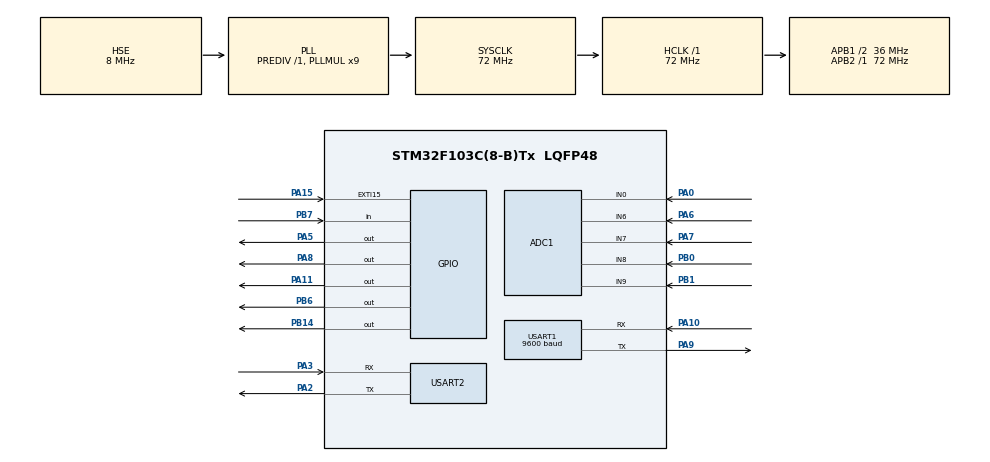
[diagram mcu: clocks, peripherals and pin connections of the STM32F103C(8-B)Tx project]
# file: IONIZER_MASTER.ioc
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ADC1.Channel-0\#ChannelRegularConversion=ADC_CHANNEL_0
ADC1.Channel-1\#ChannelRegularConversion=ADC_CHANNEL_6
ADC1.Channel-2\#ChannelRegularConversion=ADC_CHANNEL_7
ADC1.Channel-3\#ChannelRegularConversion=ADC_CHANNEL_8
ADC1.Channel-4\#ChannelRegularConversion=ADC_CHANNEL_9
ADC1.NbrOfConversion=5
ADC1.NbrOfConversionFlag=1
ADC1.Rank-0\#ChannelRegularConversion=1
ADC1.Rank-1\#ChannelRegularConversion=2
ADC1.Rank-2\#ChannelRegularConversion=3
ADC1.Rank-3\#ChannelRegularConversion=4
ADC1.Rank-4\#ChannelRegularConversion=5
ADC1.SamplingTime-0\#ChannelRegularConversion=ADC_SAMPLETIME_71CYCLES_5
ADC1.SamplingTime-1\#ChannelRegularConversion=ADC_SAMPLETIME_71CYCLES_5
ADC1.SamplingTime-2\#ChannelRegularConversion=ADC_SAMPLETIME_71CYCLES_5
ADC1.SamplingTime-3\#ChannelRegularConversion=ADC_SAMPLETIME_71CYCLES_5
ADC1.SamplingTime-4\#ChannelRegularConversion=ADC_SAMPLETIME_71CYCLES_5
ADC1.master=1
Mcu.Family=STM32F1
Mcu.Name=STM32F103C(8-B)Tx
Mcu.Package=LQFP48
NVIC.EXTI15_10_IRQn=true\:0\:0\:false\:false\:true\:true\:true\:true
NVIC.PriorityGroup=NVIC_PRIORITYGROUP_4
PA0-WKUP.Signal=ADCx_IN0
PA10.Mode=Asynchronous
PA10.Signal=USART1_RX
PA11.Signal=GPIO_Output
PA13.Mode=Serial_Wire
PA13.Signal=SYS_JTMS-SWDIO
PA14.Mode=Serial_Wire
PA14.Signal=SYS_JTCK-SWCLK
PA15.GPIO_ModeDefaultEXTI=GPIO_MODE_IT_RISING
PA15.Signal=GPXTI15
PA2.Mode=Asynchronous
PA2.Signal=USART2_TX
PA3.Mode=Asynchronous
PA3.Signal=USART2_RX
PA5.Signal=GPIO_Output
PA6.Signal=ADCx_IN6
PA7.Signal=ADCx_IN7
PA8.Signal=GPIO_Output
PA9.Mode=Asynchronous
PA9.Signal=USART1_TX
PB0.Signal=ADCx_IN8
PB1.Signal=ADCx_IN9
PB14.Signal=GPIO_Output
PB6.Signal=GPIO_Output
PB7.Signal=GPIO_Input
PC14-OSC32_IN.Mode=LSE-External-Oscillator
PC14-OSC32_IN.Signal=RCC_OSC32_IN
PC15-OSC32_OUT.Mode=LSE-External-Oscillator
PC15-OSC32_OUT.Signal=RCC_OSC32_OUT
PD0-OSC_IN.Mode=HSE-External-Oscillator
PD0-OSC_IN.Signal=RCC_OSC_IN
PD1-OSC_OUT.Mode=HSE-External-Oscillator
PD1-OSC_OUT.Signal=RCC_OSC_OUT
ProjectManager.HeapSize=0x200
ProjectManager.StackSize=0x400
ProjectManager.TargetToolchain=STM32CubeIDE
RCC.ADCPresc=RCC_ADCPCLK2_DIV6
RCC.AHBFreq_Value=72000000
RCC.APB1CLKDivider=RCC_HCLK_DIV2
RCC.APB1Freq_Value=36000000
RCC.APB1TimFreq_Value=72000000
RCC.APB2Freq_Value=72000000
RCC.APB2TimFreq_Value=72000000
RCC.HCLKFreq_Value=72000000
RCC.PLLMUL=RCC_PLL_MUL9
RCC.PLLSourceVirtual=RCC_PLLSOURCE_HSE
RCC.SYSCLKFreq_VALUE=72000000
RCC.SYSCLKSource=RCC_SYSCLKSOURCE_PLLCLK
RCC.USBFreq_Value=72000000
SH.ADCx_IN0.0=ADC1_IN0,IN0
SH.ADCx_IN6.0=ADC1_IN6,IN6
SH.ADCx_IN7.0=ADC1_IN7,IN7
SH.ADCx_IN8.0=ADC1_IN8,IN8
SH.ADCx_IN9.0=ADC1_IN9,IN9
TIM1.Prescaler=72
USART1.BaudRate=9600
USART1.VirtualMode=VM_ASYNC
USART2.VirtualMode=VM_ASYNC
VP_TIM1_VS_ClockSourceINT.Mode=Internal
board=custom

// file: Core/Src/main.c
/* USER CODE BEGIN Header */
/**
  ******************************************************************************
  * @file           : main.c
  * @brief          : Main program body
  ******************************************************************************
  * @attention
  *
  * Copyright (c) 2026 STMicroelectronics.
  * All rights reserved.
  *
  * This software is licensed under terms that can be found in the LICENSE file
  * in the root directory of this software component.
  * If no LICENSE file comes with this software, it is provided AS-IS.
  *
  ******************************************************************************
  */

/**
 * @file    main.c
 * @brief   Ionizer System — Master MCU Main Application
 * @target  STM32F4xx (HAL)
 * @author  Ionizer Firmware Team
 * @version 1.0.0
 *
 * Execution Flow (main loop):
 *   Step 1  — Read GSM Timestamp
 *   Step 2  — Read Inlet WFS + Poll Slave 1 HR[0] + Poll Slave 2 HR[0,1]
 *   Step 3  — TDS Monitor (80–100 ppm)  → Ionizer OFF on fault
 *   Step 4  — Booster Tank Level        → Ionizer OFF + RED LED + Buzzer
 *   Step 5  — Tank A Level H/L Limit    → Ionizer OFF
 *   Step 6  — Ionizer Set Alternation (Set 1 ↔ Set 2 every 30 min)
 *   Step 7  — CT1 / CT2 Current Monitor
 *   Step 8  — Receive Solenoid CMD from server → FC06 → Slave 2
 *   Step 9  — Build JSON payload
 *   Step 10 — HTTP POST to Cloud + Mobile App
 *   Step 11 — Update HMI Display
 *   Step 12 — Kick Watchdog
 *
 * Peripheral Assignments:
 *   UART1  → RS485 / Modbus RTU Master (PA9=DE/RE, PA10=RX, PB6=TX)
 *   UART2  → GSM Module (PA2=TX, PA3=RX)
 *   ADC1   → CH0=CT1 (PA0), CH1=CT2 (PA1)
 *   TIM2   → Free-running tick reference
 *   I2C1   → HMI LCD (PB8=SCL, PB9=SDA)
 *   IWDG   → Independent Watchdog (2 s timeout)
 *   GPIOB  → Relay1 (PB0), Relay2 (PB1)
 *   GPIOC  → RED LED (PC0), Buzzer (PC1),
 *             Tank A HIGH (PC2), Tank A LOW (PC3),
 *             Booster Level (PC4)
 *   EXTI   → Inlet WFS pulse (e.g. PB5)
 */

/* USER CODE END Header */
#include "main.h"

/* USER CODE BEGIN Includes */
#include "driver.h"
/* USER CODE END Includes */

ADC_HandleTypeDef hadc1;

TIM_HandleTypeDef htim1;

UART_HandleTypeDef huart1;
UART_HandleTypeDef huart2;

/* USER CODE BEGIN PV */
uint32_t total_flow=0;
uint16_t slave1_WF_LTR=0,slave1_sol_sts=0,slave2_WF_LTR=0,slave2_TDS,slave2_TWLS=0;
uint8_t sol_open_cnt=0;
/* USER CODE END PV */

void SystemClock_Config(void);
static void MX_GPIO_Init(void);
static void MX_USART1_UART_Init(void);
static void MX_ADC1_Init(void);
static void MX_TIM1_Init(void);
static void MX_USART2_UART_Init(void);
/* USER CODE BEGIN PFP */

/* ─────────────────────────────────────────────────────────────────────────
   Global System Data Structure
───────────────────────────────────────────────────────────────────────── */
static IonizerSystem_t g_sys;

/* ─────────────────────────────────────────────────────────────────────────
   Private Function Prototypes
───────────────────────────────────────────────────────────────────────── */

static void App_Step1_ReadTimestamp(IonizerSystem_t *sys);
static void App_Step2_PollSensors(IonizerSystem_t *sys);
static void App_Step3_MonitorTDS(IonizerSystem_t *sys);
static void App_Step4_MonitorBooster(IonizerSystem_t *sys);
static void App_Step5_MonitorTankA(IonizerSystem_t *sys);
static void App_Step6_IonizerAlternation(IonizerSystem_t *sys);
static void App_Step7_MonitorCT(IonizerSystem_t *sys);
static void App_Step8_SolenoidCMD(IonizerSystem_t *sys);
static void App_Step9_BuildJSON(IonizerSystem_t *sys, char *json_buf, uint16_t buf_size);
static void App_Step10_CloudSync(IonizerSystem_t *sys, const char *json_buf);
static void App_Step11_UpdateHMI(IonizerSystem_t *sys);
static void App_Step12_KickWDT(IonizerSystem_t *sys);
static void App_HandleFaults(IonizerSystem_t *sys);

/* USER CODE END PFP */

/* USER CODE BEGIN 0 */
int _write(int file, char *ptr, int len)
{
	/* Implement your write code here, this is used by puts and printf for example */
	int i=0;
	for(i=0 ; i<len ; i++)
		ITM_SendChar((*ptr++));
	return len;
}
/* USER CODE END 0 */

int main(void)
{

  /* MCU Configuration--------------------------------------------------------*/

  /* Reset of all peripherals, Initializes the Flash interface and the Systick. */
  HAL_Init();

  /* Configure the system clock */
  SystemClock_Config();

  /* USER CODE BEGIN SysInit */
  DRV_Init(&g_sys);
  /* USER CODE END SysInit */

  /* Initialize all configured peripherals */
  MX_GPIO_Init();
  MX_USART1_UART_Init();
  MX_ADC1_Init();
  MX_TIM1_Init();
  MX_USART2_UART_Init();
  /* USER CODE BEGIN 2 */
//  HAL_GPIO_WritePin(GPIOB, GPIO_PIN_7, GPIO_PIN_RESET);
//  HAL_TIM_Base_Start(&htim1);
//  HAL_TIM_IC_Start_IT(&htim4, TIM_CHANNEL_1);
  DWT_Init();
//  /* ── Driver Layer Init ── */
//     if (DRV_Init(&g_sys) != DRV_OK) {
//         /* Critical init failure — halt with LED blink */
//         while (1) {
//             DRV_RedLED_Set(true);
//             HAL_Delay(200);
//             DRV_RedLED_Set(false);
//             HAL_Delay(200);
//         }
//     }
//
//     /* ── Startup Indication ── */
//     DRV_Buzzer_Beep(2, 100, 100);
//     DRV_HMI_Clear();
//
//     /* ── GSM Self-check ── */
//     if (DRV_GSM_Check(g_sys.huart_gsm) != DRV_OK) {
//         g_sys.fault_gsm = true;
//         DRV_HMI_ShowFault("GSM FAIL");
//         HAL_Delay(1000);
//     }
//
//     /* ── Start with Ionizer Set 1 ── */
     g_sys.active_set = IONIZER_SET1;
     g_sys.ionizer_on = true;
     DRV_Ionizer_ON(IONIZER_SET1);

     /* ── JSON buffer (stack) ── */
     char json_buf[JSON_BUF_SIZE];
     printf("abcd\n");

  /* USER CODE END 2 */

  /* Infinite loop */
  while (1)
  {

    /* USER CODE BEGIN 3 */

//	  DRV_WFS_GetFlowLPM();

	  /* ── Step 1: Read GSM Timestamp ── */
//	         App_Step1_ReadTimestamp(&g_sys);
//
//	         /* ── Step 2: Read Inlet WFS + Poll Slave MCUs ── */
	         App_Step2_PollSensors(&g_sys);

//	         /* ── Step 3: TDS Monitor ── */
	        // readTDS(g_sys);
	         DRV_TDS_Read(&g_sys);
//	         App_Step3_MonitorTDS(&g_sys);

//	         /* ── Step 4: Booster Tank Level ── */
	        // JSN_SR04_Trigger();
	       //  HAL_Delay(100);
	         read_distance(&g_sys);
//	         App_Step4_MonitorBooster(&g_sys);
//
//	         /* ── Step 5: Tank A Level ── */
//	         App_Step5_MonitorTankA(&g_sys);
//
//	         /* ── Step 6: Ionizer Set Alternation ── */
             App_Step6_IonizerAlternation(&g_sys);
//
//	         /* ── Step 7: CT Sensor Monitor ── */
	         App_Step7_MonitorCT(&g_sys);
//
	         /* ── Step 8: Solenoid CMD from Server ── */
	         App_Step8_SolenoidCMD(&g_sys);
//
//	         /* ── Step 9: Build JSON Payload ── */
	         App_Step9_BuildJSON(&g_sys, json_buf, sizeof(json_buf));
//
//	         /* ── Step 10: Cloud + Mobile App Sync ── */
	         App_Step10_CloudSync(&g_sys, json_buf);
//
//	         /* ── Step 11: HMI Display Update ── */
//	         App_Step11_UpdateHMI(&g_sys);
//
//	         /* ── Step 12: Kick Watchdog ── */
//	         App_Step12_KickWDT(&g_sys);

	         /* Loop delay — adjust for desired polling rate */
	         HAL_Delay(100);

  }
  /* USER CODE END 3 */
}

void SystemClock_Config(void)
{
  RCC_OscInitTypeDef RCC_OscInitStruct = {0};
  RCC_ClkInitTypeDef RCC_ClkInitStruct = {0};
  RCC_PeriphCLKInitTypeDef PeriphClkInit = {0};

  /** Initializes the RCC Oscillators according to the specified parameters
  * in the RCC_OscInitTypeDef structure.
  */
  RCC_OscInitStruct.OscillatorType = RCC_OSCILLATORTYPE_HSE;
  RCC_OscInitStruct.HSEState = RCC_HSE_ON;
  RCC_OscInitStruct.HSEPredivValue = RCC_HSE_PREDIV_DIV1;
  RCC_OscInitStruct.HSIState = RCC_HSI_ON;
  RCC_OscInitStruct.PLL.PLLState = RCC_PLL_ON;
  RCC_OscInitStruct.PLL.PLLSource = RCC_PLLSOURCE_HSE;
  RCC_OscInitStruct.PLL.PLLMUL = RCC_PLL_MUL9;
  if (HAL_RCC_OscConfig(&RCC_OscInitStruct) != HAL_OK)
  {
    Error_Handler();
  }

  /** Initializes the CPU, AHB and APB buses clocks
  */
  RCC_ClkInitStruct.ClockType = RCC_CLOCKTYPE_HCLK|RCC_CLOCKTYPE_SYSCLK
                              |RCC_CLOCKTYPE_PCLK1|RCC_CLOCKTYPE_PCLK2;
  RCC_ClkInitStruct.SYSCLKSource = RCC_SYSCLKSOURCE_PLLCLK;
  RCC_ClkInitStruct.AHBCLKDivider = RCC_SYSCLK_DIV1;
  RCC_ClkInitStruct.APB1CLKDivider = RCC_HCLK_DIV2;
  RCC_ClkInitStruct.APB2CLKDivider = RCC_HCLK_DIV1;

  if (HAL_RCC_ClockConfig(&RCC_ClkInitStruct, FLASH_LATENCY_2) != HAL_OK)
  {
    Error_Handler();
  }
  PeriphClkInit.PeriphClockSelection = RCC_PERIPHCLK_ADC;
  PeriphClkInit.AdcClockSelection = RCC_ADCPCLK2_DIV6;
  if (HAL_RCCEx_PeriphCLKConfig(&PeriphClkInit) != HAL_OK)
  {
    Error_Handler();
  }
}

static void MX_ADC1_Init(void)
{

  ADC_ChannelConfTypeDef sConfig = {0};

  /** Common config
  */
  hadc1.Instance = ADC1;
  hadc1.Init.ScanConvMode = ADC_SCAN_ENABLE;
  hadc1.Init.ContinuousConvMode = DISABLE;
  hadc1.Init.DiscontinuousConvMode = DISABLE;
  hadc1.Init.ExternalTrigConv = ADC_SOFTWARE_START;
  hadc1.Init.DataAlign = ADC_DATAALIGN_RIGHT;
  hadc1.Init.NbrOfConversion = 5;
  if (HAL_ADC_Init(&hadc1) != HAL_OK)
  {
    Error_Handler();
  }

  /** Configure Regular Channel
  */
  sConfig.Channel = ADC_CHANNEL_0;
  sConfig.Rank = ADC_REGULAR_RANK_1;
  sConfig.SamplingTime = ADC_SAMPLETIME_71CYCLES_5;
  if (HAL_ADC_ConfigChannel(&hadc1, &sConfig) != HAL_OK)
  {
    Error_Handler();
  }

  /** Configure Regular Channel
  */
  sConfig.Channel = ADC_CHANNEL_6;
  sConfig.Rank = ADC_REGULAR_RANK_2;
  if (HAL_ADC_ConfigChannel(&hadc1, &sConfig) != HAL_OK)
  {
    Error_Handler();
  }

  /** Configure Regular Channel
  */
  sConfig.Channel = ADC_CHANNEL_7;
  sConfig.Rank = ADC_REGULAR_RANK_3;
  if (HAL_ADC_ConfigChannel(&hadc1, &sConfig) != HAL_OK)
  {
    Error_Handler();
  }

  /** Configure Regular Channel
  */
  sConfig.Channel = ADC_CHANNEL_8;
  sConfig.Rank = ADC_REGULAR_RANK_4;
  if (HAL_ADC_ConfigChannel(&hadc1, &sConfig) != HAL_OK)
  {
    Error_Handler();
  }

  /** Configure Regular Channel
  */
  sConfig.Channel = ADC_CHANNEL_9;
  sConfig.Rank = ADC_REGULAR_RANK_5;
  if (HAL_ADC_ConfigChannel(&hadc1, &sConfig) != HAL_OK)
  {
    Error_Handler();
  }

}

static void MX_TIM1_Init(void)
{

  TIM_ClockConfigTypeDef sClockSourceConfig = {0};
  TIM_MasterConfigTypeDef sMasterConfig = {0};

  htim1.Instance = TIM1;
  htim1.Init.Prescaler = 72;
  htim1.Init.CounterMode = TIM_COUNTERMODE_UP;
  htim1.Init.Period = 65535;
  htim1.Init.ClockDivision = TIM_CLOCKDIVISION_DIV1;
  htim1.Init.RepetitionCounter = 0;
  htim1.Init.AutoReloadPreload = TIM_AUTORELOAD_PRELOAD_DISABLE;
  if (HAL_TIM_Base_Init(&htim1) != HAL_OK)
  {
    Error_Handler();
  }
  sClockSourceConfig.ClockSource = TIM_CLOCKSOURCE_INTERNAL;
  if (HAL_TIM_ConfigClockSource(&htim1, &sClockSourceConfig) != HAL_OK)
  {
    Error_Handler();
  }
  sMasterConfig.MasterOutputTrigger = TIM_TRGO_RESET;
  sMasterConfig.MasterSlaveMode = TIM_MASTERSLAVEMODE_DISABLE;
  if (HAL_TIMEx_MasterConfigSynchronization(&htim1, &sMasterConfig) != HAL_OK)
  {
    Error_Handler();
  }

}

static void MX_USART1_UART_Init(void)
{

  huart1.Instance = USART1;
  huart1.Init.BaudRate = 9600;
  huart1.Init.WordLength = UART_WORDLENGTH_8B;
  huart1.Init.StopBits = UART_STOPBITS_1;
  huart1.Init.Parity = UART_PARITY_NONE;
  huart1.Init.Mode = UART_MODE_TX_RX;
  huart1.Init.HwFlowCtl = UART_HWCONTROL_NONE;
  huart1.Init.OverSampling = UART_OVERSAMPLING_16;
  if (HAL_UART_Init(&huart1) != HAL_OK)
  {
    Error_Handler();
  }

}

static void MX_USART2_UART_Init(void)
{

  huart2.Instance = USART2;
  huart2.Init.BaudRate = 115200;
  huart2.Init.WordLength = UART_WORDLENGTH_8B;
  huart2.Init.StopBits = UART_STOPBITS_1;
  huart2.Init.Parity = UART_PARITY_NONE;
  huart2.Init.Mode = UART_MODE_TX_RX;
  huart2.Init.HwFlowCtl = UART_HWCONTROL_NONE;
  huart2.Init.OverSampling = UART_OVERSAMPLING_16;
  if (HAL_UART_Init(&huart2) != HAL_OK)
  {
    Error_Handler();
  }

}

static void MX_GPIO_Init(void)
{
  GPIO_InitTypeDef GPIO_InitStruct = {0};

  /* GPIO Ports Clock Enable */
  __HAL_RCC_GPIOC_CLK_ENABLE();
  __HAL_RCC_GPIOD_CLK_ENABLE();
  __HAL_RCC_GPIOA_CLK_ENABLE();
  __HAL_RCC_GPIOB_CLK_ENABLE();

  /*Configure GPIO pin Output Level */
  HAL_GPIO_WritePin(GPIOA, GPIO_PIN_5|GPIO_PIN_8|GPIO_PIN_11, GPIO_PIN_RESET);

  /*Configure GPIO pin Output Level */
  HAL_GPIO_WritePin(GPIOB, GPIO_PIN_14|GPIO_PIN_6, GPIO_PIN_RESET);

  /*Configure GPIO pins : PA5 PA8 PA11 */
  GPIO_InitStruct.Pin = GPIO_PIN_5|GPIO_PIN_8|GPIO_PIN_11;
  GPIO_InitStruct.Mode = GPIO_MODE_OUTPUT_PP;
  GPIO_InitStruct.Pull = GPIO_NOPULL;
  GPIO_InitStruct.Speed = GPIO_SPEED_FREQ_LOW;
  HAL_GPIO_Init(GPIOA, &GPIO_InitStruct);

  /*Configure GPIO pins : PB14 PB6 */
  GPIO_InitStruct.Pin = GPIO_PIN_14|GPIO_PIN_6;
  GPIO_InitStruct.Mode = GPIO_MODE_OUTPUT_PP;
  GPIO_InitStruct.Pull = GPIO_NOPULL;
  GPIO_InitStruct.Speed = GPIO_SPEED_FREQ_LOW;
  HAL_GPIO_Init(GPIOB, &GPIO_InitStruct);

  /*Configure GPIO pin : PA15 */
  GPIO_InitStruct.Pin = GPIO_PIN_15;
  GPIO_InitStruct.Mode = GPIO_MODE_IT_RISING;
  GPIO_InitStruct.Pull = GPIO_NOPULL;
  HAL_GPIO_Init(GPIOA, &GPIO_InitStruct);

  /*Configure GPIO pin : PB7 */
  GPIO_InitStruct.Pin = GPIO_PIN_7;
  GPIO_InitStruct.Mode = GPIO_MODE_INPUT;
  GPIO_InitStruct.Pull = GPIO_NOPULL;
  HAL_GPIO_Init(GPIOB, &GPIO_InitStruct);

  /* EXTI interrupt init*/
  HAL_NVIC_SetPriority(EXTI15_10_IRQn, 0, 0);
  HAL_NVIC_EnableIRQ(EXTI15_10_IRQn);

}

/* USER CODE BEGIN 4 */
/* ─────────────────────────────────────────────────────────────────────────
   STEP 1 — READ GSM TIMESTAMP
───────────────────────────────────────────────────────────────────────── */

/**
 * @brief  Read current date/time from GSM module and store in system struct.
 *         On failure the timestamp field retains its previous value.
 */
static void App_Step1_ReadTimestamp(IonizerSystem_t *sys)
{
    char ts_buf[32] = {0};
    DRV_Status st = DRV_GSM_GetTimestamp(sys->huart_gsm, ts_buf, sizeof(ts_buf));
    if (st == DRV_OK) {
        strncpy(sys->timestamp, ts_buf, sizeof(sys->timestamp) - 1);
        sys->fault_gsm = false;
    } else {
        /* Keep previous timestamp; mark fault */
        sys->fault_gsm = true;
        DBG_PRINT("GSM Timestamp read failed");
    }
}

/* ─────────────────────────────────────────────────────────────────────────
   STEP 2 — READ INLET WFS + POLL SLAVE MCUs
───────────────────────────────────────────────────────────────────────── */

/**
 * @brief  Read inlet flow sensor and poll both slave MCUs via Modbus FC03.
 *         Slave 1: HR[0] = Flow Rate
 *         Slave 2: HR[0] = Flow Rate, HR[1] = TDS value
 */
static void App_Step2_PollSensors(IonizerSystem_t *sys)
{
    /* ── Inlet WFS (direct GPIO pulse count) ── */
    sys->inlet_flow_lpm = DRV_WFS_GetFlowLPM();
    total_flow= DRV_WFS_GetFlowLPM();

    /* ── Poll Slave 1 — read 1 register (HR[0] = Flow) ── */
    uint16_t s1_data[4] = {0};
    DRV_Status st1 = DRV_Modbus_ReadHR(
        sys->huart_rs485, SLAVE1_ADDR,
        S1_HR_FLOW_RATE, 4, s1_data);

    if (st1 == DRV_OK) {
     //    Register value stored as x10 (e.g. 125 = 12.5 L/min)
        sys->slave1_flow_lpm  =   (float)s1_data[0] / 10.0f;
        slave1_WF_LTR         =    s1_data[0];

        sys->solenoid_status  =    s1_data[1];
        slave1_sol_sts        =    s1_data[1];
        sys->fault_modbus_s1  = false;
    } else {
        sys->fault_modbus_s1 = true;
        DBG_PRINT("Slave 1 poll failed (err=%d)", (int)st1);
    }

    HAL_Delay(100);
    // ── Poll Slave 2 — read 2 registers (HR[0]=Flow, HR[1]=TDS) ──
    uint16_t s2_data[5] = {0};
    DRV_Status st2 = DRV_Modbus_ReadHR(
        sys->huart_rs485, SLAVE2_ADDR,
        S2_HR_FLOW_RATE, 5, s2_data);

    if (st2 == DRV_OK) {
        sys->slave2_flow_lpm  = (float)s2_data[0] / 10.0f;
        slave2_WF_LTR         =    s2_data[0];

        sys->tds_ppm          = s2_data[1];
        slave2_TDS            =s2_data[1];

        sys->TWLS             = s2_data[4];
        slave2_TWLS            = s2_data[4];
        sys->fault_modbus_s2  = false;
    } else {
        sys->fault_modbus_s2 = true;
        DBG_PRINT("Slave 2 poll failed (err=%d)", (int)st2);
    }

   // HAL_Delay(1000);
    /*DBG_PRINT("Inlet=%.1f S1=%.1f S2=%.1f TDS=%uppm",
              (double)sys->inlet_flow_lpm,
              (double)sys->slave1_flow_lpm,
              (double)sys->slave2_flow_lpm,
              sys->tds_ppm);*/
}

/* ─────────────────────────────────────────────────────────────────────────
   STEP 3 — TDS MONITOR  (Threshold: 80–100 ppm)
───────────────────────────────────────────────────────────────────────── */

/**
 * @brief  Check TDS value. If outside 80–100 ppm, turn ionizer OFF.
 */
static void App_Step3_MonitorTDS(IonizerSystem_t *sys)
{
    if (sys->tds_ppm < TDS_MIN_PPM || sys->tds_ppm > TDS_MAX_PPM) {
        sys->fault_tds_out_of_range = true;
        if (sys->ionizer_on) {
            sys->ionizer_on = false;
            DRV_Ionizer_OFF_All();
            DRV_HMI_ShowFault("TDS OUT RANGE!");
            DRV_Buzzer_Beep(3, 200, 100);
            DBG_PRINT("TDS OUT OF RANGE (%u ppm) — Ionizer OFF", sys->tds_ppm);
        }
    } else {
        if (sys->fault_tds_out_of_range) {
            /* TDS returned to range — allow ionizer to restart */
            sys->fault_tds_out_of_range = false;
            DBG_PRINT("TDS back in range (%u ppm)", sys->tds_ppm);
        }
    }

    /* Re-evaluate overall ionizer enable state */
    App_HandleFaults(sys);
}

/* ─────────────────────────────────────────────────────────────────────────
   STEP 4 — BOOSTER TANK LEVEL MONITOR
───────────────────────────────────────────────────────────────────────── */

/**
 * @brief  Monitor booster tank level sensor.
 *         If below minimum: Ionizer OFF + RED LED + Buzzer.
 */
static void App_Step4_MonitorBooster(IonizerSystem_t *sys)
{
    sys->booster_level_low = DRV_Booster_LevelLow();

    if (sys->booster_level_low) {
        sys->fault_booster_low = true;
        if (sys->ionizer_on) {
            sys->ionizer_on = false;
            DRV_Ionizer_OFF_All();
            DBG_PRINT("BOOSTER LOW — Ionizer OFF");
        }
        DRV_RedLED_Set(true);
        DRV_Buzzer_Set(true);   /* Continuous alert */
        DRV_HMI_ShowFault("BOOSTER LOW!");
    } else {
        if (sys->fault_booster_low) {
            sys->fault_booster_low = false;
            DRV_RedLED_Set(false);
            DRV_Buzzer_Set(false);
            DBG_PRINT("Booster level restored");
        }
    }

    App_HandleFaults(sys);
}

/* ─────────────────────────────────────────────────────────────────────────
   STEP 5 — TANK A WATER LEVEL MONITOR  (HIGH / LOW limit)
───────────────────────────────────────────────────────────────────────── */

/**
 * @brief  Monitor Tank A level sensors.
 *         If HIGH or LOW limit is reached, turn Ionizer OFF.
 */
static void App_Step5_MonitorTankA(IonizerSystem_t *sys)
{
    sys->tank_a_high_limit = DRV_TankA_HighLimit();
    sys->tank_a_low_limit  = DRV_TankA_LowLimit();

    if (sys->tank_a_high_limit || sys->tank_a_low_limit) {
        sys->fault_tank_a_limit = true;
        if (sys->ionizer_on) {
            sys->ionizer_on = false;
            DRV_Ionizer_OFF_All();
            const char *msg = sys->tank_a_high_limit ? "TANK A HIGH!" : "TANK A LOW!";
            DRV_HMI_ShowFault(msg);
            DBG_PRINT("Tank A limit — %s — Ionizer OFF", msg);
        }
    } else {
        if (sys->fault_tank_a_limit) {
            sys->fault_tank_a_limit = false;
            DBG_PRINT("Tank A level normal");
        }
    }

    App_HandleFaults(sys);
}

/* ─────────────────────────────────────────────────────────────────────────
   STEP 6 — IONIZER SET ALTERNATION
───────────────────────────────────────────────────────────────────────── */

/**
 * @brief  Alternate between Ionizer Set 1 and Set 2 after Timer T expires.
 *         Only operates when all fault flags are clear.
 */
static void App_Step6_IonizerAlternation(IonizerSystem_t *sys)
{
    if (!sys->ionizer_on) return;
    DRV_Ionizer_Alternate(sys);
}

/* ─────────────────────────────────────────────────────────────────────────
   STEP 7 — CT SENSOR MONITOR
───────────────────────────────────────────────────────────────────────── */

/**
 * @brief  Read CT1 and CT2 sensors via ADC.
 *         Flag fault if current is outside normal operating range.
 */
static void App_Step7_MonitorCT(IonizerSystem_t *sys)
{
    /* Read CT1 */
    if (DRV_ADC_ReadCT1(sys->hadc, &sys->ct1_raw) == DRV_OK) {
        sys->fault_ct1 = DRV_CT_IsFault(sys->ct1_raw);
        if (sys->fault_ct1) {
            DRV_HMI_ShowFault("CT1 FAULT!");
            DRV_Buzzer_Beep(2, 150, 100);
            DBG_PRINT("CT1 FAULT raw=%u", sys->ct1_raw);
        }
    }

    /* Read CT2 */
    if (DRV_ADC_ReadCT2(sys->hadc, &sys->ct2_raw) == DRV_OK) {
        sys->fault_ct2 = DRV_CT_IsFault(sys->ct2_raw);
        if (sys->fault_ct2) {
            DRV_HMI_ShowFault("CT2 FAULT!");
            DRV_Buzzer_Beep(2, 150, 100);
            DBG_PRINT("CT2 FAULT raw=%u", sys->ct2_raw);
        }
    }

    /* Read CT3 */
      if (DRV_ADC_ReadCT3(sys->hadc, &sys->ct3_raw) == DRV_OK) {
          sys->fault_ct3 = DRV_CT_IsFault(sys->ct3_raw);
          if (sys->fault_ct3) {
              DRV_HMI_ShowFault("CT3 FAULT!");
              DRV_Buzzer_Beep(2, 150, 100);
              DBG_PRINT("CT3 FAULT raw=%u", sys->ct3_raw);
          }
      }

      /* Read CT4 */
      if (DRV_ADC_ReadCT4(sys->hadc, &sys->ct4_raw) == DRV_OK) {
          sys->fault_ct4 = DRV_CT_IsFault(sys->ct4_raw);
          if (sys->fault_ct4) {
              DRV_HMI_ShowFault("CT4 FAULT!");
              DRV_Buzzer_Beep(2, 150, 100);
              DBG_PRINT("CT4 FAULT raw=%u", sys->ct4_raw);
          }
      }

    DBG_PRINT("CT1=%u CT2=%u CT3=%u CT4=%u", sys->ct1_raw, sys->ct2_raw);
}

/* ─────────────────────────────────────────────────────────────────────────
   STEP 8 — SOLENOID CMD FROM SERVER → FC06 → SLAVE 2
───────────────────────────────────────────────────────────────────────── */

/**
 * @brief  Check if server has sent a solenoid command via GSM.
 *         If "OPEN" → FC06 write SOLENOID_OPEN to Slave 2 HR[2].
 *         If "CLOSE"→ FC06 write SOLENOID_CLOSE to Slave 2 HR[2].
 */
static void App_Step8_SolenoidCMD(IonizerSystem_t *sys)
{
    char cmd[32] = {0};
    uint16_t write_val;

 /*   DRV_Status st = DRV_GSM_ReceiveCMD(sys->huart_gsm, cmd, sizeof(cmd));

    if (st != DRV_OK) return;   No pending command

    if (strncmp(cmd, "OPEN", 4) == 0) {
        write_val = SOLENOID_OPEN;
        sys->solenoid_status = SOLENOID_OPEN;
        DBG_PRINT("Server CMD: OPEN Solenoid");
    } else if (strncmp(cmd, "CLOSE", 5) == 0) {
        write_val = SOLENOID_CLOSE;
        sys->solenoid_status = SOLENOID_CLOSE;
        DBG_PRINT("Server CMD: CLOSE Solenoid");
    } else {
        DBG_PRINT("Unknown server CMD: %s", cmd);
        return;
    }
*/

   // write_val=SOLENOID_CLOSE;    // for testing purpose
    if(slave1_WF_LTR >= 1)
    {
    write_val=SOLENOID_CLOSE;    // for testing purpose
    }
    else if(slave1_WF_LTR < 1 && sol_open_cnt == 0)
    {
    	write_val=SOLENOID_OPEN;   // for testing purpose
    	sol_open_cnt++;
    }

    /* Send FC06 to Slave  */
    DRV_Status mb_st = DRV_Modbus_WriteSR(
        sys->huart_rs485,
        SLAVE1_ADDR,
        S1_HR_SOLENOID,
        write_val);

    if (mb_st != DRV_OK) {
        DBG_PRINT("FC06 to Slave 1 FAILED (err=%d)", (int)mb_st);
        sys->fault_modbus_s2 = true;
    } else {
        DBG_PRINT("FC06 Solenoid CMD sent OK to Slave 1");
    }
    UART_Restart();
}

/* ─────────────────────────────────────────────────────────────────────────
   STEP 9 — BUILD JSON PAYLOAD
───────────────────────────────────────────────────────────────────────── */

static void App_Step9_BuildJSON(IonizerSystem_t *sys, char *json_buf, uint16_t buf_size)
{
    DRV_JSON_Build(sys, json_buf, buf_size);
    DBG_PRINT("JSON: %s", json_buf);
}

/* ─────────────────────────────────────────────────────────────────────────
   STEP 10 — CLOUD SYNC + MOBILE APP
───────────────────────────────────────────────────────────────────────── */

/**
 * @brief  Send JSON payload to cloud server via GSM HTTP POST.
 *         Retries up to MODBUS_RETRIES times on failure.
 */
static void App_Step10_CloudSync(IonizerSystem_t *sys, const char *json_buf)
{
    DRV_Status st = DRV_ERROR;
    for (uint8_t attempt = 0; attempt < MODBUS_RETRIES; attempt++) {
        st = DRV_GSM_SendHTTP(sys->huart_gsm, SERVER_URL, json_buf);
        if (st == DRV_OK) {
            sys->fault_gsm = false;
            DBG_PRINT("Cloud sync OK (attempt %d)", attempt + 1);
            break;
        }
        HAL_Delay(500);
    }
    if (st != DRV_OK) {
        sys->fault_gsm = true;
        DBG_PRINT("Cloud sync FAILED after %d attempts", MODBUS_RETRIES);
    }
}

/* ─────────────────────────────────────────────────────────────────────────
   STEP 11 — UPDATE HMI DISPLAY
───────────────────────────────────────────────────────────────────────── */

static void App_Step11_UpdateHMI(IonizerSystem_t *sys)
{
    DRV_HMI_Update(sys);
}

/* ─────────────────────────────────────────────────────────────────────────
   STEP 12 — KICK WATCHDOG
───────────────────────────────────────────────────────────────────────── */

static void App_Step12_KickWDT(IonizerSystem_t *sys)
{
  //  DRV_WDT_Kick(sys->hiwdg);
}

/* ─────────────────────────────────────────────────────────────────────────
   FAULT HANDLER — Evaluate all faults, enable Ionizer if all clear
───────────────────────────────────────────────────────────────────────── */

/**
 * @brief  Central fault evaluator.
 *         If all safety faults are cleared, re-enable the ionizer.
 *         If any fault is active, ensure ionizer stays OFF.
 */
static void App_HandleFaults(IonizerSystem_t *sys)
{
    bool any_critical_fault =
        sys->fault_tds_out_of_range ||
        sys->fault_booster_low      ||
        sys->fault_tank_a_limit;

    if (any_critical_fault) {
        if (sys->ionizer_on) {
            sys->ionizer_on = false;
            DRV_Ionizer_OFF_All();
        }
    } else {
        /* All critical faults cleared — re-enable ionizer */
        if (!sys->ionizer_on) {
            sys->ionizer_on = true;
            /* Resume from the last active set */
            if (sys->active_set == IONIZER_SET_NONE)
                sys->active_set = IONIZER_SET1;
            DRV_Ionizer_ON(sys->active_set);
            DRV_RedLED_Set(false);
            DRV_Buzzer_Set(false);
            DBG_PRINT("All faults cleared — Ionizer restarted Set %d",
                      (int)sys->active_set);
        }
    }
}

/* ─────────────────────────────────────────────────────────────────────────
   EXTI ISR — Inlet Water Flow Sensor Pulse
   Called by stm32f1xx_it.c HAL_GPIO_EXTI_Callback
───────────────────────────────────────────────────────────────────────── */

/**
 * @brief  Override HAL EXTI callback for inlet WFS pulse counting.
 *         Wire the inlet WFS output to the configured EXTI GPIO pin.
 * @note   GPIO_PIN_5 = PB5 in this example; change to your pin.
 */
void HAL_GPIO_EXTI_Callback(uint16_t GPIO_Pin)
{
    if (GPIO_Pin == GPIO_PIN_15) {   /* Inlet WFS pin — adjust as needed */
        DRV_WFS_PulseCallback();
    }
}

/* USER CODE END 4 */

void Error_Handler(void)
{
  __disable_irq();
  while (1)
  {
  }
}
